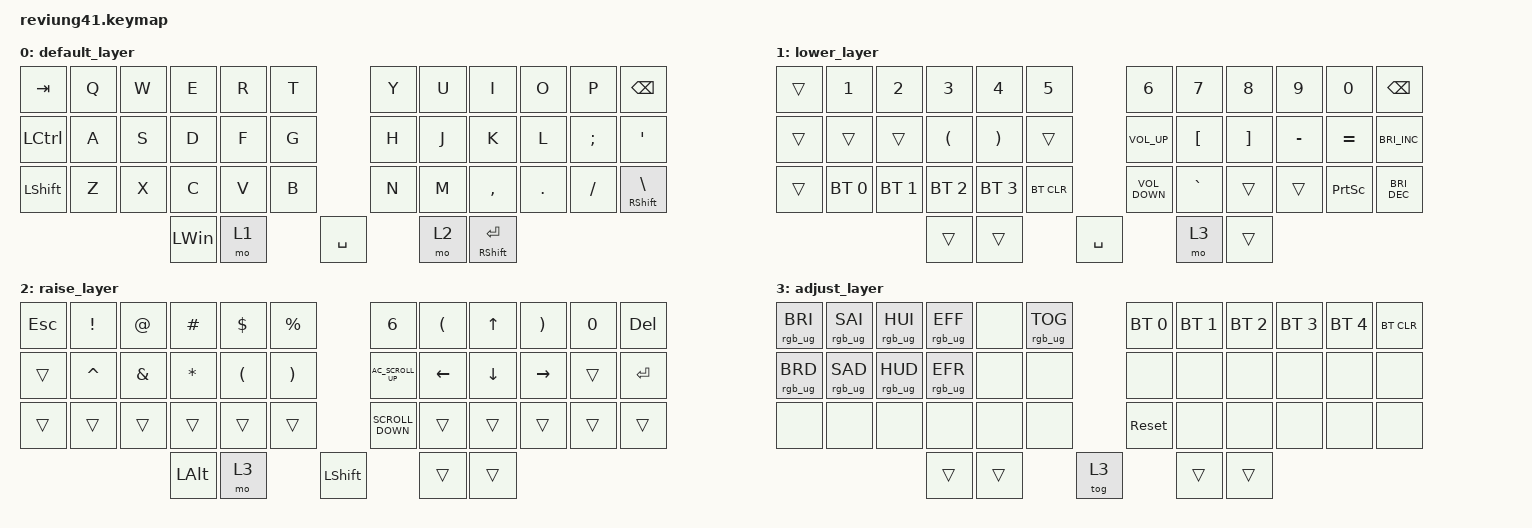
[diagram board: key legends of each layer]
/*
 * Copyright (c) 2020 The ZMK Contributors
 *
 * SPDX-License-Identifier: MIT
 */

#include <behaviors.dtsi>
#include <dt-bindings/zmk/bt.h>
#include <dt-bindings/zmk/keys.h>
#include <dt-bindings/zmk/rgb.h>

/ {
    keymap {
        compatible = "zmk,keymap";

        default_layer {
            // -------------------------------------------------------------------------------------
            // |  TAB |  Q  |  W  |  E  |  R  |  T  |   |  Y  |  U   |  I  |  O  |  P  |   BKSP    |
            // | CTRL |  A  |  S  |  D  |  F  |  G  |   |  H  |  J   |  K  |  L  |  ;  |    '      |
            // | SHFT |  Z  |  X  |  C  |  V  |  B  |   |  N  |  M   |  ,  |  .  |  /  | SHFT(RET) |
            //                         | ALT | LWR | SPC | RSE  | ALT |

            bindings = <
&kp TAB    &kp Q  &kp W  &kp E     &kp R  &kp T             &kp Y  &kp U  &kp I            &kp O    &kp P     &kp BSPC
&kp LCTRL  &kp A  &kp S  &kp D     &kp F  &kp G             &kp H  &kp J  &kp K            &kp L    &kp SEMI  &kp SQT
&kp LSHFT  &kp Z  &kp X  &kp C     &kp V  &kp B             &kp N  &kp M  &kp COMMA        &kp DOT  &kp FSLH  &mt RSHFT BACKSLASH
                         &kp LWIN  &mo 1         &kp SPACE         &mo 2  &mt RSHFT ENTER
            >;
        };

        lower_layer {
            // ------------------------------------------------------------------------------------
            // |    |  !  |  @  |  #  |  $  |  %  |   |  ^  |  &  |  *  |  (  |  )  |      DEL    |
            // |    |  _  |  +  |  {  |  }  | "|" |   | LFT | DWN |  UP | RGT |  `  |       ~     |
            // |    | ESC | GUI | ALT | CAPS|  "  |   | HOME| END | PGUP| PGDN| PRSC| SHFT(SPACE) |
            //                       |     |     | RET | ADJ |     |

            bindings = <
&trans  &kp N1        &kp N2        &kp N3                &kp N4                 &kp N5                 &kp N6             &kp N7            &kp N8             &kp N9     &kp N0     &kp BACKSPACE
&trans  &trans        &trans        &kp LEFT_PARENTHESIS  &kp RIGHT_PARENTHESIS  &trans                 &kp C_VOLUME_UP    &kp LEFT_BRACKET  &kp RIGHT_BRACKET  &kp MINUS  &kp EQUAL  &kp C_BRIGHTNESS_INC
&trans  &bt BT_SEL 0  &bt BT_SEL 1  &bt BT_SEL 2          &bt BT_SEL 3           &bt BT_CLR             &kp C_VOLUME_DOWN  &kp GRAVE         &trans             &trans     &kp PSCRN  &kp C_BRIGHTNESS_DEC
                                    &trans                &trans                             &kp SPACE                     &mo 3             &trans
            >;
        };

        raise_layer {
            // ----------------------------------------------------------------------------
            // |    |  1  |  2  |  3  |  4  |  5  |   |  6  |  7  |  8  |  9  |  0  | DEL |
            // |    |  -  |  =  |  [  |  ]  |  \  |   | F1  | F2  | F3  | F4  | F5  | F6  |
            // |    | ESC | GUI | ALT | CAPS|  "  |   | F7  | F8  | F9  | F10 | F11 | F12 |
            //                       |     | ADJ | BKSP |    |     |

            bindings = <
&kp ESCAPE  &kp EXCLAMATION  &kp AT_SIGN    &kp HASH      &kp DOLLAR            &kp PERCENT                       &kp N6              &kp LEFT_PARENTHESIS  &kp UP_ARROW  &kp RIGHT_PARENTHESIS  &kp N0  &kp DEL
&trans      &kp CARET        &kp AMPERSAND  &kp ASTERISK  &kp LEFT_PARENTHESIS  &kp RIGHT_PARENTHESIS             &kp C_AC_SCROLL_UP  &kp LEFT              &kp DOWN      &kp RIGHT              &trans  &kp ENTER
&trans      &trans           &trans         &trans        &trans                &trans                            &kp K_SCROLL_DOWN   &trans                &trans        &trans                 &trans  &trans
                                            &kp LEFT_ALT  &mo 3                                        &kp LSHFT                      &trans                &trans
            >;
        };

        adjust_layer {
            // -----------------------------------------------------------------------------------------
            // | RGB BRI+ | RGB SAT+ | RGB HUE+ | RGB ANI+ |    | RGB TOG |   |  BT1  | BT2 | BT3 | BT4 | BT5 | BT CLR |
            // | RGB BRI- | RGB SAT- | RGB HUE- | RGB ANI- |    |         |   |       |     |     |     |     |        |
            // |          |          |          |          |    |         |   | RESET |     |     |     |     |        |
            //                                              |     |     |     |     |     |

            bindings = <
&rgb_ug RGB_BRI  &rgb_ug RGB_SAI  &rgb_ug RGB_HUI  &rgb_ug RGB_EFF  &none   &rgb_ug RGB_TOG          &bt BT_SEL 0  &bt BT_SEL 1  &bt BT_SEL 2  &bt BT_SEL 3  &bt BT_SEL 4  &bt BT_CLR
&rgb_ug RGB_BRD  &rgb_ug RGB_SAD  &rgb_ug RGB_HUD  &rgb_ug RGB_EFR  &none   &none                    &none         &none         &none         &none         &none         &none
&none            &none            &none            &none            &none   &none                    &sys_reset    &none         &none         &none         &none         &none
                                                   &trans           &trans                   &tog 3                &trans        &trans
            >;
        };
    };
};
